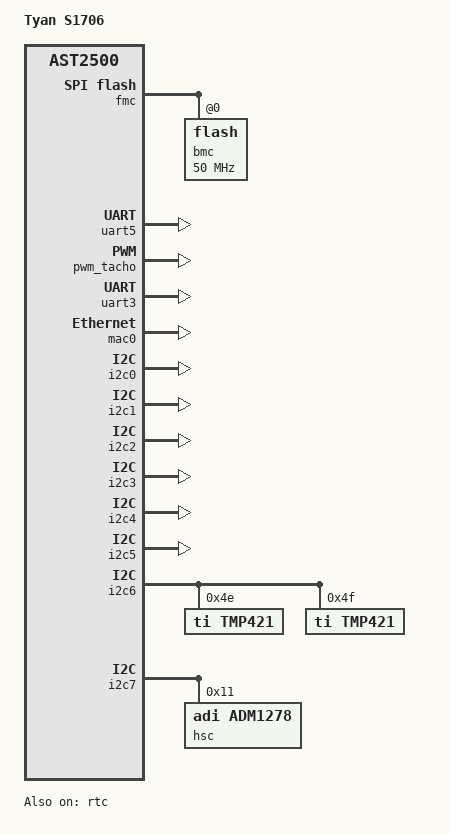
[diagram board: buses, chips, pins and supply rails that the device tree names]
// SPDX-License-Identifier: GPL-2.0+
/dts-v1/;

#include "aspeed-g5.dtsi"
#include "config.h"
#include <dt-bindings/gpio/aspeed-gpio.h>

/ {
	model = "Tyan S1706";
	compatible = "ocp,leopard-bmc", "aspeed,ast2500";

	aliases {
		con = &uart5;
	};
	chosen {
		stdout-path = "con:57600n8";
#ifdef BOOTLOADER
		linux,initrd-start = <CONFIG_INITRD_START>;
		linux,initrd-end = <CONFIG_INITRD_END>;
#endif
	};

	memory@80000000 {
		reg = <0x80000000 CONFIG_RAM_SIZE>;
	};

	// TODO(bluecmd): Remove when u-bmc sets the ilpc2ahb bits itself
	reserved-memory {
		#address-cells = <1>;
		#size-cells = <1>;
		ranges;

		flash_memory: region@98000000 {
			no-map;
			reg = <0x98000000 0x01000000>; /* 16MB */
		};
	};
};

&fmc {
	status = "okay";
	flash@0 {
		status = "okay";
		m25p,fast-read;
		label = "bmc";
		spi-max-frequency = <50000000>;
#include "ubmc-flash-layout.dtsi"
	};
};

#if 0
&spi {
	status = "okay";
	pinctrl-names = "default";
	pinctrl-0 = <&pinctrl_spi1debug_default>;

	flash@0 {
		status = "okay";
		m25p,fast-read;
		spi-max-frequency = <50000000>;
		label = "pnor";
	};
};

&pinctrl {
	pinctrl-names = "default";
	pinctrl-0 = <&pinctrl_flbusy_default &pinctrl_flwp_default

			&pinctrl_vgahs_default &pinctrl_vgavs_default
			&pinctrl_ddcclk_default &pinctrl_ddcdat_default>;
};
#endif

// /dev/ttyS4: BMC console UART
&uart5 {
	status = "okay";
};

#ifndef BOOTLOADER
&pwm_tacho {
	status = "okay";
	pinctrl-names = "default";
	pinctrl-0 = <&pinctrl_pwm0_default &pinctrl_pwm1_default>;
	fan@0 {
		reg = <0x00>;
		aspeed,fan-tach-ch = /bits/ 8 <0x00>;
	};
	fan@1 {
		reg = <0x01>;
		aspeed,fan-tach-ch = /bits/ 8 <0x02>;
	};
};

// /dev/ttyS2: Host's ttyS1
&uart3 {
	status = "okay";
};

&mac0 {
	status = "okay";

	use-ncsi;

	pinctrl-names = "default";
	pinctrl-0 = <&pinctrl_rmii1_default>;
};

&i2c0 {
	status = "okay";
};

&i2c1 {
	status = "okay";
};

&i2c2 {
	status = "okay";
};

&i2c3 {
	status = "okay";
};

&i2c4 {
	status = "okay";
};

&i2c5 {
	status = "okay";
};

&i2c6 {
	status = "okay";
	tmp421@4e {
		compatible = "ti,tmp421";
		reg = <0x4e>;
	};
	tmp421@4f {
		compatible = "ti,tmp421";
		reg = <0x4f>;
	};
};

&i2c7 {
	status = "okay";
	hsc@11 {
		compatible = "adi,adm1278";
		reg = <0x11>;
	};
};

// TODO(bluecmd): Right now this is needed in order to enable iLPC2AHB
// for some reason. My understanding is that the FWH and L2H settings
// should not affect iLPC2AHB, but they seem to.
// Removing this stanza right now causes the BMC to not be reachable
// over iLPC2AHB.
#if 0
&lpc_ctrl {
	status = "okay";
	memory-region = <&flash_memory>;
	flash = <&spi>;
};
#endif

&mbox {
	status = "okay";
};

&rtc {
	status = "okay";
};
#endif /* !BOOTLOADER */
